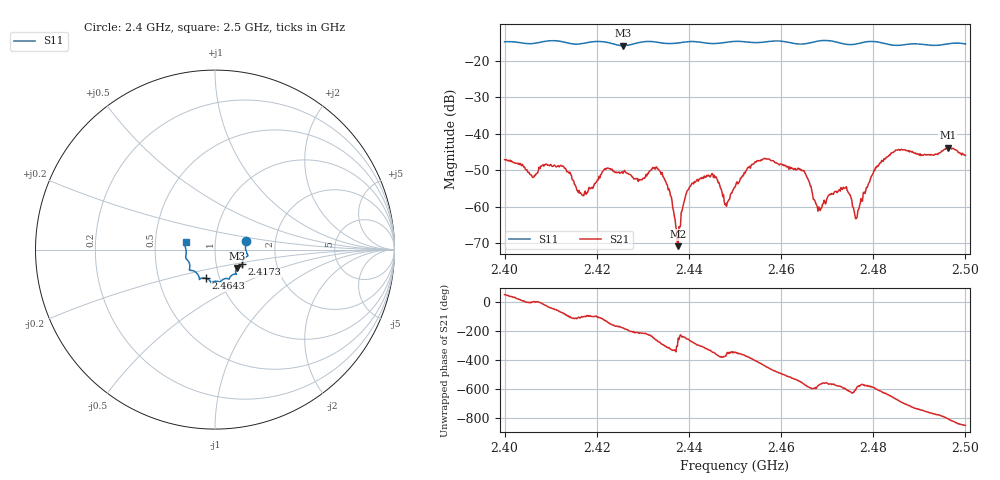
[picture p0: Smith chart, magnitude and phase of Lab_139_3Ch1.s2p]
# Hz S RI R 50
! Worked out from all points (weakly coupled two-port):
!   601 points, 2.4 GHz to 2.5 GHz, reference 50 ohm
!   highest |S21| = -43.78 dB at 2.4962 GHz (marker M1); lowest = -70.8 dB at 2.4377 GHz (marker M2)
!   lowest |S11| = -15.9 dB at 2.4257 GHz (marker M3), VSWR 1.38, Z = 62.4 - j13.1 ohm
!   |S11| at or under -10 dB: start of sweep to end of sweep
!   S12 and S22 are empty: the file has one direction only
!   S11 on the Smith chart (normalised r, x): 2.4 GHz: 1.41, +0.14; 2.4173 GHz: 1.34, -0.23; 2.4643 GHz: 0.86, -0.28; 2.5 GHz: 0.72, +0.06
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2.4e9  0.1736 0.0492  0.00264 0.00353  0 0  0 0
2.406167e9  0.1707 -0.000974  0.00252 0.000134  0 0  0 0
2.412667e9  0.176 -0.039  0.000965 -0.00349  0 0  0 0
2.416667e9  0.1525 -0.075  -0.000267 -0.00147  0 0  0 0
2.417333e9  0.1518 -0.0824  -0.000224 -0.00154  0 0  0 0
2.425667e9  0.1224 -0.1026  -0.00287 -9e-05  0 0  0 0
2.433333e9  0.1125 -0.1365  0.000173 0.00328  0 0  0 0
2.435833e9  0.0952 -0.1417  0.00127 0.00102  0 0  0 0
2.437667e9  0.084 -0.1528  -0.000101 0.000272  0 0  0 0
2.441e9  0.0781 -0.1644  0.000358 0.00202  0 0  0 0
2.4455e9  0.0512 -0.163  0.00267 0.000425  0 0  0 0
2.448167e9  0.0344 -0.1747  0.00102 -2.14e-08  0 0  0 0
2.45e9  0.0293 -0.1807  0.00182 0.000404  0 0  0 0
2.456167e9  -0.00802 -0.1783  0.00109 -0.0044  0 0  0 0
2.464333e9  -0.0503 -0.1603  -0.00312 0.000847  0 0  0 0
2.466667e9  -0.0762 -0.1594  -0.000836 0.00143  0 0  0 0
2.468333e9  -0.086 -0.1648  -0.000818 0.00049  0 0  0 0
2.474e9  -0.0976 -0.1361  -0.000835 0.00162  0 0  0 0
2.476333e9  -0.1201 -0.1183  -0.000374 0.000582  0 0  0 0
2.483333e9  -0.1402 -0.0894  0.00109 0.00484  0 0  0 0
2.496167e9  -0.1678 0.0211  0.00029 -0.00647  0 0  0 0
2.5e9  -0.1634 0.0418  -0.00356 -0.00358  0 0  0 0
